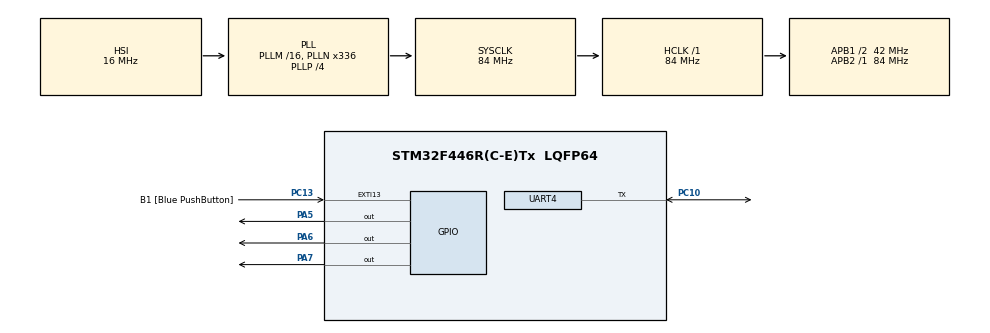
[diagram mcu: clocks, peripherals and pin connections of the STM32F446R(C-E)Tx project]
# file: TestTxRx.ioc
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Mcu.Family=STM32F4
Mcu.Name=STM32F446R(C-E)Tx
Mcu.Package=LQFP64
NVIC.PriorityGroup=NVIC_PRIORITYGROUP_0
NVIC.UART4_IRQn=true\:0\:0\:false\:false\:true\:true\:true\:true
PA13.GPIO_Label=TMS
PA13.Mode=Serial_Wire
PA13.Signal=SYS_JTMS-SWDIO
PA14.GPIO_Label=TCK
PA14.Mode=Serial_Wire
PA14.Signal=SYS_JTCK-SWCLK
PA5.GPIO_PuPd=GPIO_PULLDOWN
PA5.Signal=GPIO_Output
PA6.GPIO_ModeDefaultOutputPP=GPIO_MODE_OUTPUT_PP
PA6.GPIO_PuPd=GPIO_PULLDOWN
PA6.PinState=GPIO_PIN_SET
PA6.Signal=GPIO_Output
PA7.GPIO_PuPd=GPIO_PULLDOWN
PA7.PinState=GPIO_PIN_SET
PA7.Signal=GPIO_Output
PB3.GPIO_Label=SWO
PB3.Signal=SYS_JTDO-SWO
PC10.Mode=Half_duplex(single_wire_mode)
PC10.Signal=UART4_TX
PC11.Signal=UART4_RX
PC13.GPIO_Label=B1 [Blue PushButton]
PC13.GPIO_ModeDefaultEXTI=GPIO_MODE_IT_FALLING
PC13.Signal=GPXTI13
PC14-OSC32_IN.Mode=LSE-External-Oscillator
PC14-OSC32_IN.Signal=RCC_OSC32_IN
PC15-OSC32_OUT.Mode=LSE-External-Oscillator
PC15-OSC32_OUT.Signal=RCC_OSC32_OUT
PH0-OSC_IN.Mode=HSE-External-Oscillator
PH0-OSC_IN.Signal=RCC_OSC_IN
PH1-OSC_OUT.Mode=HSE-External-Oscillator
PH1-OSC_OUT.Signal=RCC_OSC_OUT
ProjectManager.HeapSize=0x200
ProjectManager.StackSize=0x400
ProjectManager.TargetToolchain=STM32CubeIDE
RCC.48MHZClocksFreq_Value=84000000
RCC.AHBFreq_Value=84000000
RCC.APB1CLKDivider=RCC_HCLK_DIV2
RCC.APB1Freq_Value=42000000
RCC.APB1TimFreq_Value=84000000
RCC.APB2Freq_Value=84000000
RCC.APB2TimFreq_Value=84000000
RCC.CortexFreq_Value=84000000
RCC.FLatency-AdvancedSettings=FLASH_LATENCY_2
RCC.HCLKFreq_Value=84000000
RCC.HSE_VALUE=8000000
RCC.HSI_VALUE=16000000
RCC.PLLN=336
RCC.PLLP=RCC_PLLP_DIV4
RCC.SYSCLKFreq_VALUE=84000000
RCC.SYSCLKSource=RCC_SYSCLKSOURCE_PLLCLK
RCC.USBFreq_Value=168000000
RCC.VCOOutputFreq_Value=336000000
UART4.BaudRate=1000000
UART4.VirtualMode=Asynchronous
board=NUCLEO-F446RE

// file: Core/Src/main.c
/* USER CODE BEGIN Header */
/**
  ******************************************************************************
  * @file           : main.c
  * @brief          : Main program body
  ******************************************************************************
  * @attention
  *
  * Copyright (c) 2024 STMicroelectronics.
  * All rights reserved.
  *
  * This software is licensed under terms that can be found in the LICENSE file
  * in the root directory of this software component.
  * If no LICENSE file comes with this software, it is provided AS-IS.
  *
  ******************************************************************************
  */
/* USER CODE END Header */
#include "main.h"

/* USER CODE BEGIN Includes */
#include "bq79616_stm32.h"
/* USER CODE END Includes */

/* USER CODE BEGIN PTD */
uint8_t PIN_STMTX_Location = 10;
/* USER CODE END PTD */

UART_HandleTypeDef huart4;

/* USER CODE BEGIN PV */
//TIM_HandleTypeDef htim1;
int UART_RX_RDY = 0;
int RTI_TIMEOUT = 0;

/* USER CODE END PV */

void SystemClock_Config(void);
static void MX_GPIO_Init(void);
static void MX_UART4_Init(void);
/* USER CODE BEGIN PFP */
//static void MX_TIM1_Init(void);
// void delay_us(uint16_t us);

/* USER CODE END PFP */

/* USER CODE BEGIN 0 */
#define SYSTICK_LOAD (SystemCoreClock/1000000U)
#define SYSTICK_DELAY_CALIB (SYSTICK_LOAD >> 1)

#define DELAY_US(us) \
	do	{	\
		uint32_t start = SysTick->VAL; \
		uint32_t ticks = (us * SYSTICK_LOAD)-SYSTICK_DELAY_CALIB; \
		while((start - SysTick->VAL) < ticks); \
	} while (0)

/* USER CODE END 0 */

int main(void)
{
  /* USER CODE BEGIN 1 */
	//HAL_TIM_Base_Start(&htim1);

  /* USER CODE END 1 */

  /* MCU Configuration--------------------------------------------------------*/

  /* Reset of all peripherals, Initializes the Flash interface and the Systick. */
  HAL_Init();

  /* Configure the system clock */
  SystemClock_Config();

  /* Initialize all configured peripherals */
  MX_GPIO_Init();
  MX_UART4_Init();
  /* USER CODE BEGIN 2 */

  //WakeBQ79616();
  ShutdownBQ79616();
  //AutoAddress(&huart4);

  HAL_Delay(1000);

  /* USER CODE END 2 */

  /* Infinite loop */
  while (1)
  {
	  //AutoAddress(&huart4);
	  WakeBQ79616();
	  HAL_Delay(5);
    /* USER CODE BEGIN 3 */
//	    /* USER CODE END WHILE */
//
//	    /* USER CODE BEGIN 3 */

	  //HAL_UART_STATE_DISABLE()

  }
  /* USER CODE END 3 */
}

void SystemClock_Config(void)
{
  RCC_OscInitTypeDef RCC_OscInitStruct = {0};
  RCC_ClkInitTypeDef RCC_ClkInitStruct = {0};

  /** Configure the main internal regulator output voltage
  */
  __HAL_RCC_PWR_CLK_ENABLE();
  __HAL_PWR_VOLTAGESCALING_CONFIG(PWR_REGULATOR_VOLTAGE_SCALE3);

  /** Initializes the RCC Oscillators according to the specified parameters
  * in the RCC_OscInitTypeDef structure.
  */
  RCC_OscInitStruct.OscillatorType = RCC_OSCILLATORTYPE_HSI;
  RCC_OscInitStruct.HSIState = RCC_HSI_ON;
  RCC_OscInitStruct.HSICalibrationValue = RCC_HSICALIBRATION_DEFAULT;
  RCC_OscInitStruct.PLL.PLLState = RCC_PLL_ON;
  RCC_OscInitStruct.PLL.PLLSource = RCC_PLLSOURCE_HSI;
  RCC_OscInitStruct.PLL.PLLM = 16;
  RCC_OscInitStruct.PLL.PLLN = 336;
  RCC_OscInitStruct.PLL.PLLP = RCC_PLLP_DIV4;
  RCC_OscInitStruct.PLL.PLLQ = 2;
  RCC_OscInitStruct.PLL.PLLR = 2;
  if (HAL_RCC_OscConfig(&RCC_OscInitStruct) != HAL_OK)
  {
    Error_Handler();
  }

  /** Initializes the CPU, AHB and APB buses clocks
  */
  RCC_ClkInitStruct.ClockType = RCC_CLOCKTYPE_HCLK|RCC_CLOCKTYPE_SYSCLK
                              |RCC_CLOCKTYPE_PCLK1|RCC_CLOCKTYPE_PCLK2;
  RCC_ClkInitStruct.SYSCLKSource = RCC_SYSCLKSOURCE_PLLCLK;
  RCC_ClkInitStruct.AHBCLKDivider = RCC_SYSCLK_DIV1;
  RCC_ClkInitStruct.APB1CLKDivider = RCC_HCLK_DIV2;
  RCC_ClkInitStruct.APB2CLKDivider = RCC_HCLK_DIV1;

  if (HAL_RCC_ClockConfig(&RCC_ClkInitStruct, FLASH_LATENCY_2) != HAL_OK)
  {
    Error_Handler();
  }
}

static void MX_UART4_Init(void)
{

  huart4.Instance = UART4;
  huart4.Init.BaudRate = 1000000;
  huart4.Init.WordLength = UART_WORDLENGTH_8B;
  huart4.Init.StopBits = UART_STOPBITS_1;
  huart4.Init.Parity = UART_PARITY_NONE;
  huart4.Init.Mode = UART_MODE_TX_RX;
  huart4.Init.HwFlowCtl = UART_HWCONTROL_NONE;
  huart4.Init.OverSampling = UART_OVERSAMPLING_16;
  if (HAL_HalfDuplex_Init(&huart4) != HAL_OK)
  {
    Error_Handler();
  }

}

static void MX_GPIO_Init(void)
{
  GPIO_InitTypeDef GPIO_InitStruct = {0};

  /* GPIO Ports Clock Enable */
  __HAL_RCC_GPIOC_CLK_ENABLE();
  __HAL_RCC_GPIOH_CLK_ENABLE();
  __HAL_RCC_GPIOA_CLK_ENABLE();
  __HAL_RCC_GPIOB_CLK_ENABLE();

  /*Configure GPIO pin Output Level */
  HAL_GPIO_WritePin(GPIOA, GPIO_PIN_5, GPIO_PIN_RESET);

  /*Configure GPIO pin Output Level */
  HAL_GPIO_WritePin(GPIOA, GPIO_PIN_6|GPIO_PIN_7, GPIO_PIN_SET);

  /*Configure GPIO pin : B1_Pin */
  GPIO_InitStruct.Pin = B1_Pin;
  GPIO_InitStruct.Mode = GPIO_MODE_IT_FALLING;
  GPIO_InitStruct.Pull = GPIO_NOPULL;
  HAL_GPIO_Init(B1_GPIO_Port, &GPIO_InitStruct);

  /*Configure GPIO pins : PA5 PA6 PA7 */
  GPIO_InitStruct.Pin = GPIO_PIN_5|GPIO_PIN_6|GPIO_PIN_7;
  GPIO_InitStruct.Mode = GPIO_MODE_OUTPUT_PP;
  GPIO_InitStruct.Pull = GPIO_PULLDOWN;
  GPIO_InitStruct.Speed = GPIO_SPEED_FREQ_LOW;
  HAL_GPIO_Init(GPIOA, &GPIO_InitStruct);

}

/* USER CODE BEGIN 4 */

void WakeBQ79616(void)
{
	PIN_STMTX_Location = 10;
	GPIOC->MODER &= ~(0b11 << (PIN_STMTX_Location*2)); // clear the GPIO MODE to 00
	GPIOC->MODER |= (0b10 << (PIN_STMTX_Location*2)); // Sets the mode of PC10 to alternate function
	GPIOC->AFR[2] &= ~(0b1111<<(12)); //sets Alternate function for PC10 to AF8
	GPIOC->ODR &= ~(0b1 <<(PIN_STMTX_Location)); // output 0 when in gpio mode
	GPIOC->MODER ^= (0b11 << (PIN_STMTX_Location*2)); // GPIO MODE
	//HAL_Delay(2); // Use Veronica's Delay Function
	DELAY_US(2500);
	DELAY_US(2500);
	GPIOC->MODER ^= (0b11 << (PIN_STMTX_Location*2)); // AF

}

void ShutdownBQ79616(void)
{
	PIN_STMTX_Location = 10;
	GPIOC->MODER ^= (0b11 << (PIN_STMTX_Location*2)); // GPIO
	HAL_Delay(8);
	GPIOC->MODER ^= (0b11 << (PIN_STMTX_Location*2));
}

/* USER CODE END 4 */

void Error_Handler(void)
{
  __disable_irq();
  while (1)
  {
  }
}
